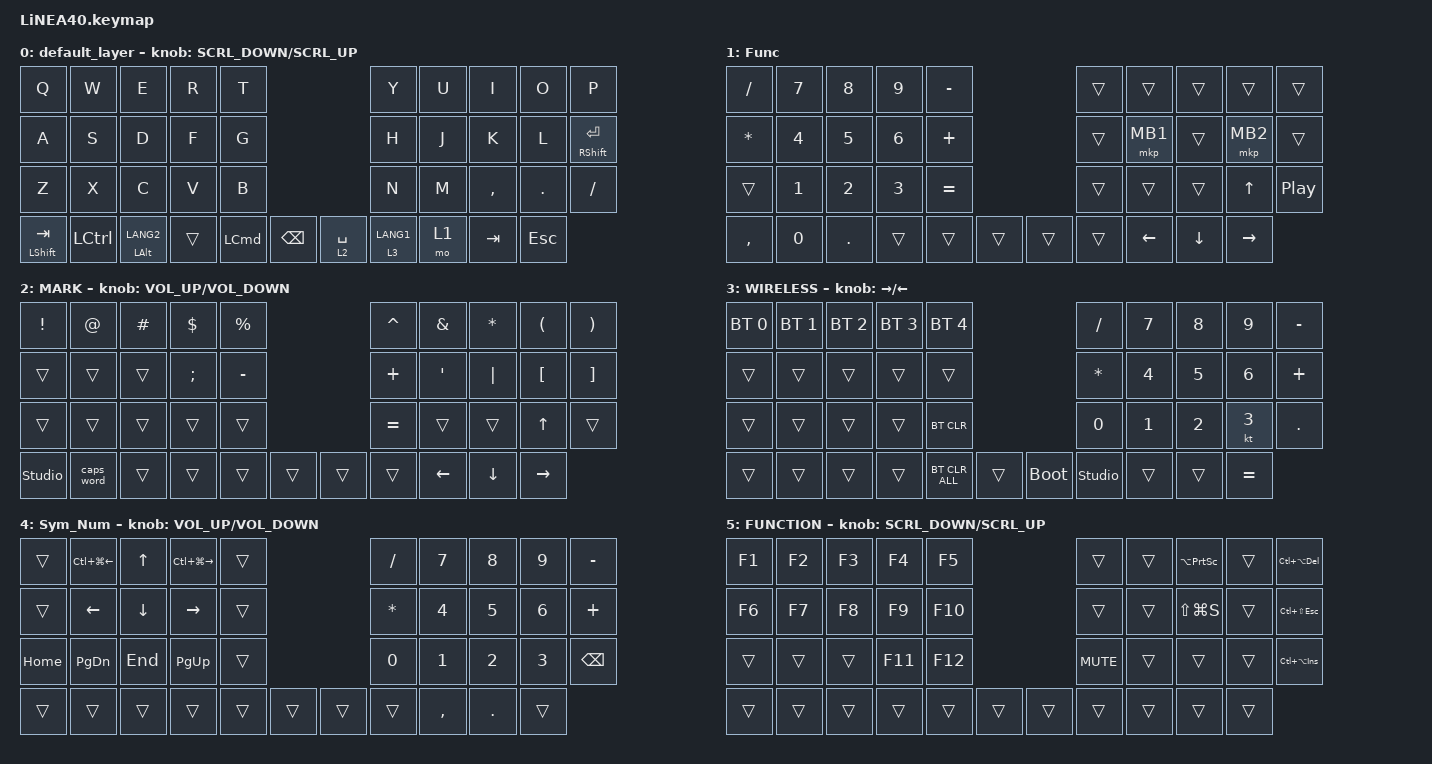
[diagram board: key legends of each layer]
#define ZMK_POINTING_DEFAULT_SCRL_VAL 150

#include <dt-bindings/zmk/input_transform.h>
#include <input/processors.dtsi>
#include <zephyr/dt-bindings/input/input-event-codes.h>
#include <behaviors.dtsi>
#include <dt-bindings/zmk/bt.h>
#include <dt-bindings/zmk/keys.h>
#include <dt-bindings/zmk/pointing.h>

#define MOUSE 1
#define MARK 2
#define CURSOR 3
#define FUNCTION 4
#define SCROLL 5
#define WIRELESS 6

//mouse cursol

&mmv {
    delay-ms = <20>;
    trigger-period-ms = <5>;
    time-to-max-speed-ms = <100>;
    acceleration-exponent = <2>;
};

//mouse scroll

&msc {
    delay-ms = <3>;
    trigger-period-ms = <3>;
    time-to-max-speed-ms = <100>;
    acceleration-exponent = <0>;
};

/ {
    input_processors {
        zip_wheel_scaler: zip_wheel_scaler {
            compatible = "zmk,input-processor-scaler";
            #input-processor-cells = <2>;
            type = <INPUT_EV_REL>;
            codes = <INPUT_REL_WHEEL>;
            track-remainders;
        };
    };
};

&msc_input_listener {
    speed_up {
        layers = <FUNCTION>;
        input-processors = <&zip_wheel_scaler 3 1>; //スクロールを3倍速にする
    };
};

&trackball_listener {
    scroller {
        layers = <SCROLL>;
        input-processors =
            <&zip_xy_transform INPUT_TRANSFORM_Y_INVERT>,
            //スクロール方向を逆転,,,,,,,,,,,,,,,,,,,,,,,,,,,,,,,,,,,,,,,,,,,,,,,,,,
            <&zip_xy_to_scroll_mapper>;
    };
};

/ {
    combos {
        compatible = "zmk,combos";

        ZenkakuHankaku {
            bindings = <&kp GRAVE>;
            key-positions = <11 12>;
        };

        DeleteKey {
            bindings = <&kp DEL>;
            key-positions = <7 8>;
        };

        InsertKey {
            bindings = <&kp INS>;
            key-positions = <6 7>;
        };

        CenterClick {
            bindings = <&mkp MB3>;
            key-positions = <17 16>;
        };

        RightClick {
            bindings = <&mkp MB2>;
            key-positions = <18 17>;
        };

        PrevClick {
            bindings = <&mkp MB4>;
            key-positions = <27 28>;
        };

        ClickNext {
            bindings = <&mkp MB5>;
            key-positions = <26 27>;
        };
    };

    behaviors {
        re_kp: sensor_rotate_kp {
            compatible = "zmk,behavior-sensor-rotate-var";
            #sensor-binding-cells = <2>;
            bindings = <&kp>, <&kp>;
        };

        mouse_scrl: mouse_wheel_scrl {
            compatible = "zmk,behavior-sensor-rotate-var";
            #sensor-binding-cells = <2>;
            bindings = <&msc>, <&msc>;

            tap-ms = <20>;
        };

        td_lang: td_lang {
            compatible = "zmk,behavior-tap-dance";
            label = "TD_LANG";
            #binding-cells = <0>;
            bindings = <&kp LANGUAGE_1>, <&kp LANG2>;
        };
    };

    keymap {
        compatible = "zmk,keymap";

        default_layer {
            bindings = <
&kp Q               &kp W             &kp E               &kp R   &kp T                                           &kp Y        &kp U  &kp I      &kp O    &kp P
&kp A               &kp S             &kp D               &kp F   &kp G                                           &kp H        &kp J  &kp K      &kp L    &mt RIGHT_SHIFT ENTER
&kp Z               &kp X             &kp C               &kp V   &kp B                                           &kp N        &kp M  &kp COMMA  &kp DOT  &kp SLASH
&mt LEFT_SHIFT TAB  &kp LEFT_CONTROL  &mt LEFT_ALT LANG2  &trans  &kp LEFT_COMMAND  &kp BACKSPACE    &lt 2 SPACE  &lt 3 LANG1         &mo 1      &kp TAB  &kp ESCAPE
            >;

            sensor-bindings = <&mouse_scrl SCRL_DOWN SCRL_UP>;
        };

        Func {
            bindings = <
&kp SLASH  &kp NUMBER_7  &kp NUMBER_8  &kp NUMBER_9  &kp MINUS                    &trans  &trans    &trans    &trans        &trans
&kp ASTRK  &kp NUMBER_4  &kp N5        &kp NUMBER_6  &kp PLUS                     &trans  &mkp MB1  &trans    &mkp MB2      &trans
&trans     &kp NUMBER_1  &kp NUMBER_2  &kp NUMBER_3  &kp EQUAL                    &trans  &trans    &trans    &kp UP_ARROW  &kp C_PLAY_PAUSE
&kp COMMA  &kp NUMBER_0  &kp PERIOD    &trans        &trans     &trans    &trans  &trans            &kp LEFT  &kp DOWN      &kp RIGHT
            >;
        };

        MARK {
            bindings = <
&kp EXCLAMATION  &kp AT      &kp HASH  &kp DOLLAR  &kp PERCENT                    &kp CARET  &kp AMPERSAND  &kp ASTERISK    &kp LEFT_PARENTHESIS  &kp RIGHT_PARENTHESIS
&trans           &trans      &trans    &kp SEMI    &kp MINUS                      &kp PLUS   &kp APOS       &kp PIPE        &kp LEFT_BRACKET      &kp RIGHT_BRACKET
&trans           &trans      &trans    &trans      &trans                         &kp EQUAL  &trans         &trans          &kp UP_ARROW          &trans
&studio_unlock   &caps_word  &trans    &trans      &trans       &trans    &trans  &trans                    &kp LEFT_ARROW  &kp DOWN              &kp RIGHT
            >;

            sensor-bindings = <&re_kp C_VOLUME_UP C_VOLUME_DOWN>;
        };

        WIRELESS {
            bindings = <
&bt BT_SEL 0  &bt BT_SEL 1  &bt BT_SEL 2  &bt BT_SEL 3  &bt BT_SEL 4                           &kp SLASH       &kp NUMBER_7  &kp NUMBER_8  &kp NUMBER_9  &kp MINUS
&trans        &trans        &trans        &trans        &trans                                 &kp ASTRK       &kp NUMBER_4  &kp NUMBER_5  &kp NUMBER_6  &kp PLUS
&trans        &trans        &trans        &trans        &bt BT_CLR                             &kp NUMBER_0    &kp NUMBER_1  &kp NUMBER_2  &kt NUMBER_3  &kp PERIOD
&trans        &trans        &trans        &trans        &bt BT_CLR_ALL  &trans    &bootloader  &studio_unlock                &trans        &trans        &kp EQUAL
            >;

            sensor-bindings = <&inc_dec_kp RIGHT_ARROW LEFT_ARROW>;
        };

        Sym_Num {
            bindings = <
&trans    &kp LC(LG(LEFT_ARROW))  &kp UP_ARROW  &kp LC(LG(RIGHT_ARROW))  &trans                    &kp SLASH     &kp NUMBER_7  &kp NUMBER_8  &kp NUMBER_9  &kp MINUS
&trans    &kp LEFT_ARROW          &kp DOWN      &kp RIGHT_ARROW          &trans                    &kp ASTERISK  &kp NUMBER_4  &kp NUMBER_5  &kp NUMBER_6  &kp PLUS
&kp HOME  &kp PAGE_DOWN           &kp END       &kp PAGE_UP              &trans                    &kp NUMBER_0  &kp NUMBER_1  &kp NUMBER_2  &kp NUMBER_3  &kp BACKSPACE
&trans    &trans                  &trans        &trans                   &trans  &trans    &trans  &trans                      &kp COMMA     &kp DOT       &trans
            >;

            sensor-bindings = <&re_kp C_VOLUME_UP C_VOLUME_DOWN>;
        };

        FUNCTION {
            bindings = <
&kp F1  &kp F2  &kp F3  &kp F4   &kp F5                     &trans      &trans  &kp LA(PRINTSCREEN)  &trans  &kp LC(LA(DELETE))
&kp F6  &kp F7  &kp F8  &kp F9   &kp F10                    &trans      &trans  &kp LS(LG(S))        &trans  &kp LC(LS(ESCAPE))
&trans  &trans  &trans  &kp F11  &kp F12                    &kp C_MUTE  &trans  &trans               &trans  &kp LC(LA(INS))
&trans  &trans  &trans  &trans   &trans   &trans    &trans  &trans              &trans               &trans  &trans
            >;

            sensor-bindings = <&mouse_scrl SCRL_DOWN SCRL_UP>;
        };
    };
};
